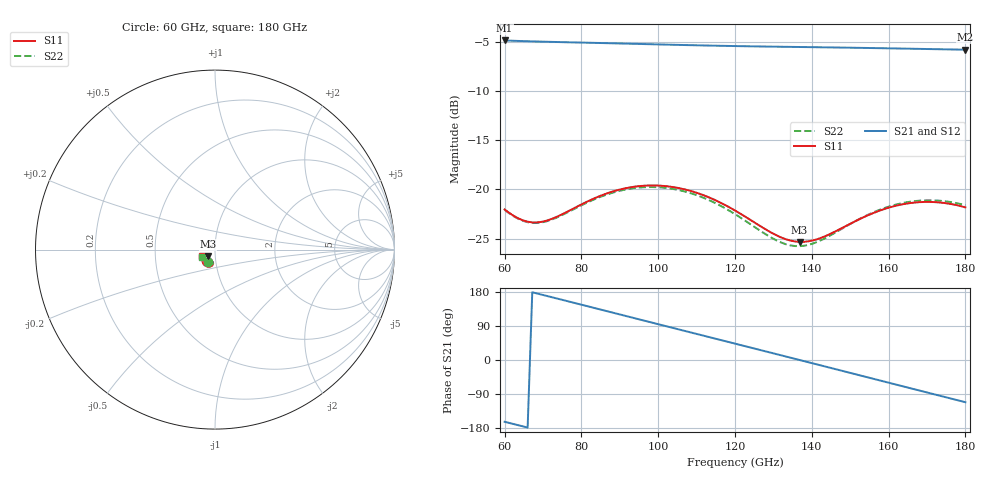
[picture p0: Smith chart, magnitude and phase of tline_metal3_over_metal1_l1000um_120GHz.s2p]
#  GHZ S DB R 50
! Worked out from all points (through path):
!   101 points, 60 GHz to 180 GHz, reference 50 ohm
!   highest |S21| = -4.86 dB at 60 GHz (marker M1); lowest = -5.8 dB at 180 GHz (marker M2)
!   group delay of S21, straight-line fit = 7.14 ps
!   lowest |S11| = -25.3 dB at 136.8 GHz (marker M3), VSWR 1.11, Z = 46.2 - j3.52 ohm
!   |S11| at or under -10 dB: start of sweep to end of sweep
!   |S22| runs from -25.8 to -19.8 dB; largest |S21 - S12| = 9.3e-14
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60  -22.04 -118.2  -4.86 -163.0  -4.86 -163.0  -22.08 -118.3
64.8  -23.15 -111.7  -4.93 -175.2  -4.93 -175.2  -23.20 -111.9
68.4  -23.36 -105.6  -4.97 175.6  -4.97 175.6  -23.42 -105.8
74.4  -22.64 -98.7  -5.03 160.3  -5.03 160.3  -22.72 -98.9
80.4  -21.45 -98.4  -5.08 144.9  -5.08 144.9  -21.55 -98.7
86.4  -20.44 -103.2  -5.14 129.5  -5.14 129.5  -20.56 -103.5
91.2  -19.91 -109.1  -5.18 117.1  -5.18 117.1  -20.04 -109.4
96  -19.64 -115.9  -5.22 104.8  -5.22 104.8  -19.79 -116.3
100.8  -19.63 -123.1  -5.27 92.4  -5.27 92.4  -19.81 -123.5
105.6  -19.89 -130.1  -5.32 80.1  -5.32 80.1  -20.09 -130.5
110.4  -20.40 -136.7  -5.36 67.8  -5.36 67.8  -20.65 -137.1
120  -22.15 -146.0  -5.43 43.2  -5.43 43.2  -22.52 -146.1
128.4  -24.16 -145.9  -5.48 21.7  -5.48 21.7  -24.66 -145.0
133.2  -25.06 -140.9  -5.51 9.3  -5.51 9.3  -25.57 -138.8
136.8  -25.34 -135.4  -5.53 0.1  -5.53 0.1  -25.77 -132.4
140.4  -25.18 -129.9  -5.55 -9.2  -5.55 -9.2  -25.49 -126.4
150  -23.50 -123.6  -5.60 -34.0  -5.60 -34.0  -23.52 -120.3
156  -22.41 -126.1  -5.64 -49.5  -5.64 -49.5  -22.34 -123.3
160.8  -21.77 -130.4  -5.67 -61.9  -5.67 -61.9  -21.66 -127.8
165.6  -21.39 -135.7  -5.70 -74.3  -5.70 -74.3  -21.25 -133.4
170.4  -21.27 -141.5  -5.73 -86.7  -5.73 -86.7  -21.11 -139.5
180  -21.83 -153.0  -5.80 -111.4  -5.80 -111.4  -21.61 -151.3
